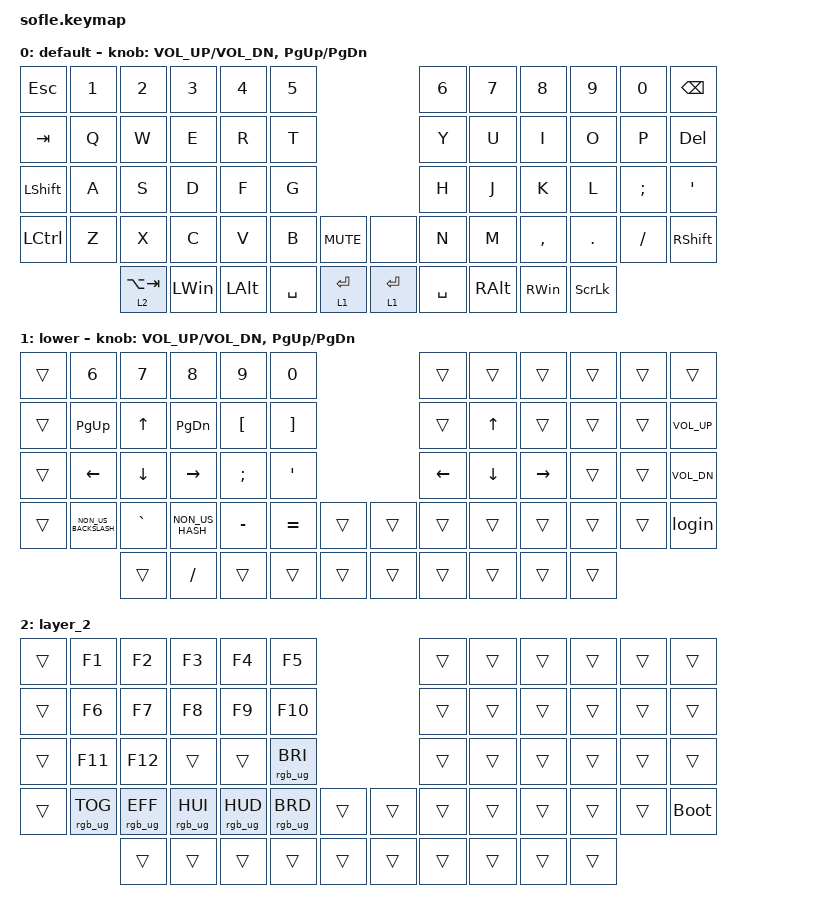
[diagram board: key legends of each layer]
/*
 * Copyright (c) 2020 The ZMK Contributors
 *
 * SPDX-License-Identifier: MIT
 */

#include <behaviors.dtsi>
#include <dt-bindings/zmk/keys.h>
#include <dt-bindings/zmk/rgb.h>

#define BASE 0
#define LOWER 1
#define RAISE 2
#define ADJUST 3

/ {
    // Activate ADJUST layer by pressing raise and lower

    conditional_layers { compatible = "zmk,conditional-layers"; };

    macros {
        login: login {
            compatible = "zmk,behavior-macro";
            #binding-cells = <0>;
            bindings = <&kp N2 &kp N4 &kp N5 &kp N6 &kp N5 &kp N2>;
            label = "LOGIN";
        };
    };

    keymap {
        compatible = "zmk,keymap";

        default_layer {
            display-name = "default";

            // ------------------------------------------------------------------------------------------------------------
            // |   `   |  1  |  2  |  3   |  4   |  5   |                   |  6   |  7    |  8    |  9   |   0   |       |
            // |  ESC  |  Q  |  W  |  E   |  R   |  T   |                   |  Y   |  U    |  I    |  O   |   P   | BKSPC |
            // |  TAB  |  A  |  S  |  D   |  F   |  G   |                   |  H   |  J    |  K    |  L   |   ;   |   '   |
            // | SHIFT |  Z  |  X  |  C   |  V   |  B   |  MUTE  |  |       |  N   |  M    |  ,    |  .   |   /   | SHIFT |
            //               | GUI | ALT  | CTRL | LOWER|  ENTER |  | SPACE | RAISE| CTRL  | ALT   | GUI  |

            bindings = <
&kp ESCAPE        &kp N1  &kp N2         &kp N3        &kp N4        &kp N5                                 &kp N6     &kp N7    &kp N8         &kp N9          &kp N0    &kp BACKSPACE
&kp TAB           &kp Q   &kp W          &kp E         &kp R         &kp T                                  &kp Y      &kp U     &kp I          &kp O           &kp P     &kp DELETE
&kp LEFT_SHIFT    &kp A   &kp S          &kp D         &kp F         &kp G                                  &kp H      &kp J     &kp K          &kp L           &kp SEMI  &kp SQT
&kp LEFT_CONTROL  &kp Z   &kp X          &kp C         &kp V         &kp B      &kp C_MUTE     &none        &kp N      &kp M     &kp COMMA      &kp DOT         &kp FSLH  &kp RSHFT
                          &lt 2 LA(TAB)  &kp LEFT_WIN  &kp LEFT_ALT  &kp SPACE  &lt 1 ENTER    &lt 1 ENTER  &kp SPACE  &kp RALT  &kp RIGHT_WIN  &kp SCROLLLOCK
            >;

            sensor-bindings = <&inc_dec_kp C_VOL_UP C_VOL_DN &inc_dec_kp PG_UP PG_DN>;
        };

        lower_layer {
            display-name = "lower";

            // TODO: Some binds are waiting for shifted keycode support.
            // ------------------------------------------------------------------------------------------------------------
            // |       |  F1 |  F2 |  F3  |  F4  |  F5  |                   |  F6  |  F7   |  F8   |  F9  |  F10  |  F11  |
            // |   `   |  1  |  2  |  3   |  4   |  5   |                   |  6   |  7    |  8    |  9   |   0   |  F12  |
            // |       |  !  |  @  |  #   |  $   |  %   |                   |  ^   |  &    |  *    |  (   |   )   |   |   |
            // |       |  =  |  -  |  +   |  {   |  }   |        |  |       |  [   |  ]    |  ;    |  :   |   \   |       |
            //               |     |      |      |      |        |  |       |      |       |       |      |

            bindings = <
&trans  &kp NUMBER_6          &kp N7        &kp N8           &kp N9            &kp N0                               &trans          &trans          &trans           &trans  &trans  &trans
&trans  &kp PAGE_UP           &kp UP_ARROW  &kp PAGE_DOWN    &kp LEFT_BRACKET  &kp RIGHT_BRACKET                    &trans          &kp UP_ARROW    &trans           &trans  &trans  &kp C_VOL_UP
&trans  &kp LEFT_ARROW        &kp DOWN      &kp RIGHT        &kp SEMICOLON     &kp SQT                              &kp LEFT_ARROW  &kp DOWN_ARROW  &kp RIGHT_ARROW  &trans  &trans  &kp C_VOL_DN
&trans  &kp NON_US_BACKSLASH  &kp GRAVE     &kp NON_US_HASH  &kp MINUS         &kp EQUAL          &trans    &trans  &trans          &trans          &trans           &trans  &trans  &login
                              &trans        &kp SLASH        &trans            &trans             &trans    &trans  &trans          &trans          &trans           &trans
            >;

            sensor-bindings = <&inc_dec_kp C_VOL_UP C_VOL_DN &inc_dec_kp PG_UP PG_DN>;
        };

        layer_2 {
            bindings = <
&trans  &kp F1           &kp F2           &kp F3           &kp F4           &kp F5                             &trans  &trans  &trans  &trans  &trans  &trans
&trans  &kp F6           &kp F7           &kp F8           &kp F9           &kp F10                            &trans  &trans  &trans  &trans  &trans  &trans
&trans  &kp F11          &kp F12          &trans           &trans           &rgb_ug RGB_BRI                    &trans  &trans  &trans  &trans  &trans  &trans
&trans  &rgb_ug RGB_TOG  &rgb_ug RGB_EFF  &rgb_ug RGB_HUI  &rgb_ug RGB_HUD  &rgb_ug RGB_BRD  &trans    &trans  &trans  &trans  &trans  &trans  &trans  &bootloader
                         &trans           &trans           &trans           &trans           &trans    &trans  &trans  &trans  &trans  &trans
            >;
        };
    };
};
